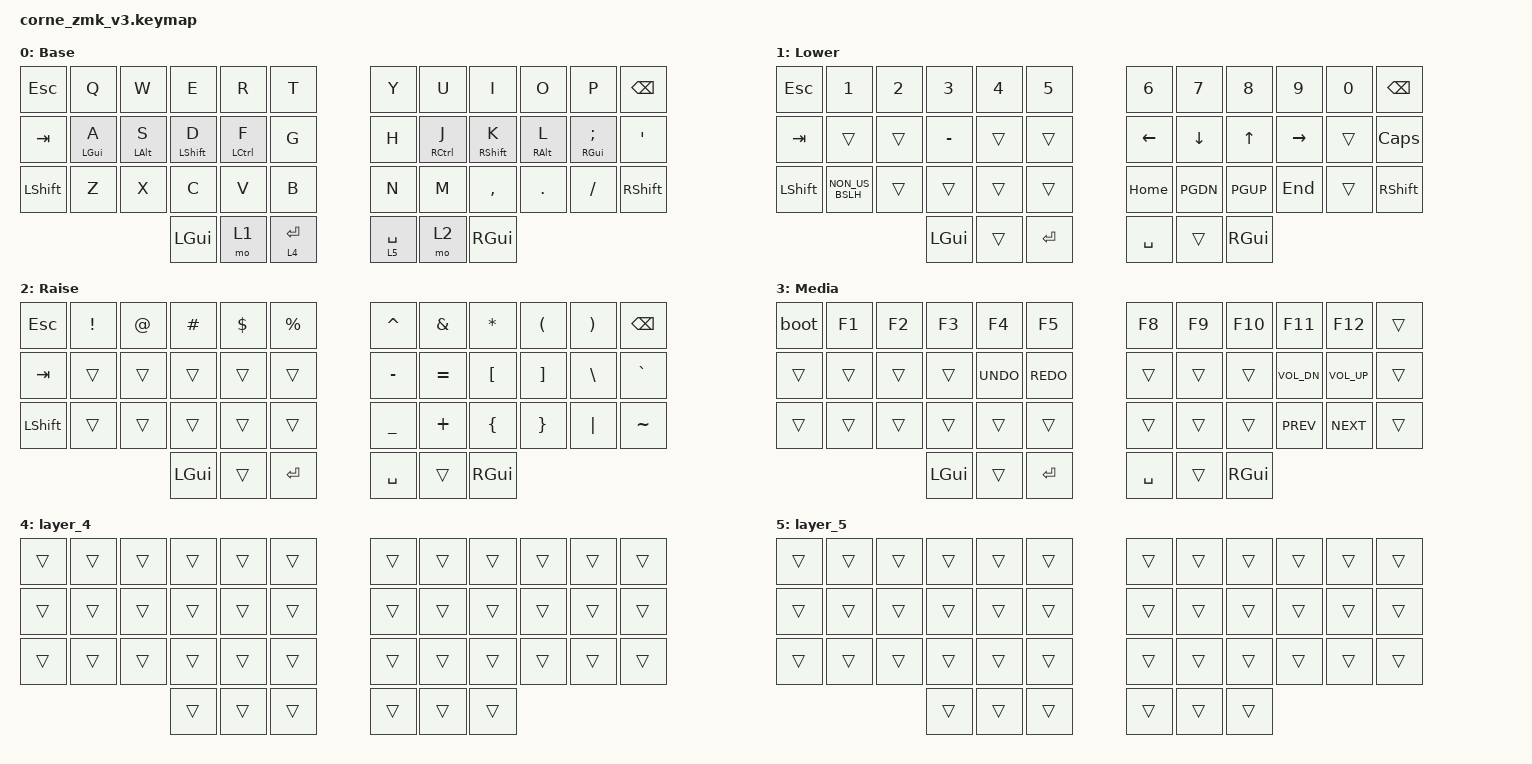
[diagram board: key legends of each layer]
#include <behaviors.dtsi>
#include <dt-bindings/zmk/keys.h>

/ {
  keymap {
    compatible = "zmk,keymap";
    layer_0 {
      display-name = "Base";
      bindings = <
        &kp ESC &kp Q &kp W &kp E &kp R &kp T &kp Y &kp U &kp I &kp O &kp P &kp BSPC
        &kp TAB &mt LGUI A &mt LALT S &mt LSHFT D &mt LCTRL F &kp G &kp H &mt RCTRL J &mt RSHFT K &mt RALT L &mt RGUI SEMI &kp SQT
        &kp LSHFT &kp Z &kp X &kp C &kp V &kp B &kp N &kp M &kp COMMA &kp DOT &kp FSLH &kp RSHFT
        &kp LGUI &mo 1 &lt 4 ENTER &lt 5 SPACE &mo 2 &kp RGUI
      >;
    };
    layer_1 {
      display-name = "Lower";
      bindings = <
        &kp ESC &kp N1 &kp N2 &kp N3 &kp N4 &kp N5 &kp N6 &kp N7 &kp N8 &kp N9 &kp N0 &kp BSPC
        &kp TAB &trans &trans &kp MINUS &trans &trans &kp LEFT &kp DOWN &kp UP &kp RIGHT &trans &kp CAPSLOCK
        &kp LSHFT &kp NON_US_BSLH &trans &trans &trans &trans &kp HOME &kp PGDN &kp PGUP &kp END &trans &kp RSHFT
        &kp LGUI &trans &kp ENTER &kp SPACE &trans &kp RGUI
      >;
    };
    layer_2 {
      display-name = "Raise";
      bindings = <
        &kp ESC &kp EXCL &kp AT &kp HASH &kp DLLR &kp PRCNT &kp CARET &kp AMPS &kp ASTRK &kp LPAR &kp RPAR &kp BSPC
        &kp TAB &trans &trans &trans &trans &trans &kp MINUS &kp EQUAL &kp LBKT &kp RBKT &kp BSLH &kp GRAVE
        &kp LSHFT &trans &trans &trans &trans &trans &kp UNDER &kp PLUS &kp LBRC &kp RBRC &kp PIPE &kp TILDE
        &kp LGUI &trans &kp ENTER &kp SPACE &trans &kp RGUI
      >;
    };
    layer_3 {
      display-name = "Media";
      bindings = <
        &boot &kp F1 &kp F2 &kp F3 &kp F4 &kp F5 &kp F8 &kp F9 &kp F10 &kp F11 &kp F12 &trans
        &trans &trans &trans &trans &kp UNDO &kp REDO &trans &trans &trans &kp C_VOL_DN &kp C_VOL_UP &trans
        &trans &trans &trans &trans &trans &trans &trans &trans &trans &kp C_PREV &kp C_NEXT &trans
        &kp LGUI &trans &kp ENTER &kp SPACE &trans &kp RGUI
      >;
    };
    layer_4 {
      bindings = <
        &trans &trans &trans &trans &trans &trans &trans &trans &trans &trans &trans &trans
        &trans &trans &trans &trans &trans &trans &trans &trans &trans &trans &trans &trans
        &trans &trans &trans &trans &trans &trans &trans &trans &trans &trans &trans &trans
        &trans &trans &trans &trans &trans &trans
      >;
    };
    layer_5 {
      bindings = <
        &trans &trans &trans &trans &trans &trans &trans &trans &trans &trans &trans &trans
        &trans &trans &trans &trans &trans &trans &trans &trans &trans &trans &trans &trans
        &trans &trans &trans &trans &trans &trans &trans &trans &trans &trans &trans &trans
        &trans &trans &trans &trans &trans &trans
      >;
    };
  };
};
